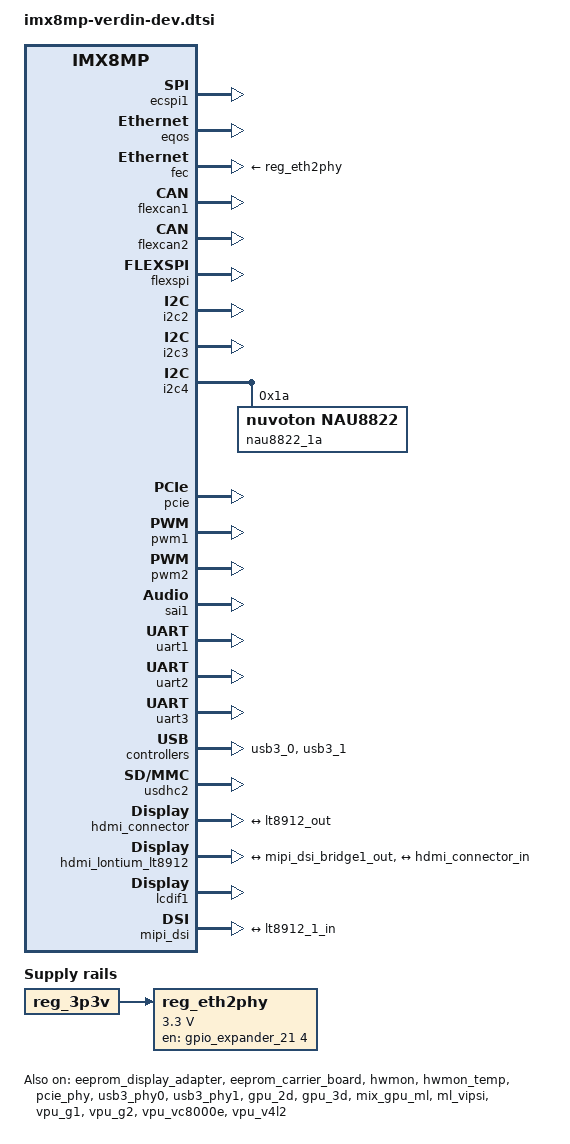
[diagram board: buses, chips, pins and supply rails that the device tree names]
// SPDX-License-Identifier: GPL-2.0-or-later OR MIT
/*
 * Copyright 2022 Toradex
 */

/ {
	reg_eth2phy: regulator-eth2phy {
		compatible = "regulator-fixed";
		enable-active-high;
		gpio = <&gpio_expander_21 4 GPIO_ACTIVE_HIGH>; /* ETH_PWR_EN */
		off-on-delay = <500000>;
		regulator-max-microvolt = <3300000>;
		regulator-min-microvolt = <3300000>;
		regulator-name = "+V3.3_ETH";
		startup-delay-us = <200000>;
		vin-supply = <&reg_3p3v>;
	};

	sound_card: sound-card {
		compatible = "simple-audio-card";
		simple-audio-card,bitclock-master = <&dailink_master>;
		simple-audio-card,format = "i2s";
		simple-audio-card,frame-master = <&dailink_master>;
		simple-audio-card,mclk-fs = <256>;
		simple-audio-card,name = "imx8mp-nau8822";
		simple-audio-card,routing =
			"Headphones", "LHP",
			"Headphones", "RHP",
			"Speaker", "LSPK",
			"Speaker", "RSPK",
			"Line Out", "AUXOUT1",
			"Line Out", "AUXOUT2",
			"LAUX", "Line In",
			"RAUX", "Line In",
			"LMICP",    "Mic In",
			"RMICP",    "Mic In";
		simple-audio-card,widgets =
			"Headphones", "Headphones",
			"Line Out", "Line Out",
			"Speaker", "Speaker",
			"Microphone", "Mic In",
			"Line", "Line In";

		dailink_master: simple-audio-card,codec {
			sound-dai = <&nau8822_1a>;
			clocks = <&audio_blk_ctrl IMX8MP_CLK_AUDIO_BLK_CTRL_SAI1_MCLK1>;
		};

		simple-audio-card,cpu {
			sound-dai = <&sai1>;
		};
	};
};

&backlight {
	power-supply = <&reg_3p3v>;
};

/* Verdin SPI_1 */
&ecspi1 {
	status = "okay";
};

/* EEPROM on display adapter boards */
&eeprom_display_adapter {
	status = "okay";
};

/* EEPROM on Verdin Development board */
&eeprom_carrier_board {
	status = "okay";
};

&eqos {
	status = "okay";
};

&fec {
	phy-supply = <&reg_eth2phy>;
	status = "okay";
};

&flexcan1 {
	status = "okay";
};

&flexcan2 {
	status = "okay";
};

/* Verdin QSPI_1 */
&flexspi {
	status = "okay";
};

&gpio_expander_21 {
	status = "okay";
	vcc-supply = <&reg_1p8v>;
};

/* Current measurement into module VCC */
&hwmon {
	status = "okay";
};

&hwmon_temp {
	vs-supply = <&reg_1p8v>;
	status = "okay";
};

/* Verdin I2C_2_DSI */
&i2c2 {
	status = "okay";
};

&i2c3 {
	status = "okay";
};

/* Verdin I2C_1 */
&i2c4 {
	status = "okay";

	/* Audio Codec */
	nau8822_1a: codec-nau@1a {
		compatible = "nuvoton,nau8822";
		pinctrl-names = "default";
		pinctrl-0 = <&pinctrl_sai1>;
		#sound-dai-cells = <0>;
		reg = <0x1a>;
	};
};

/* Verdin PCIE_1 */
&pcie {
	epdev_on-supply = <&reg_3p3v>;
	status = "okay";
};

&pcie_phy {
	status = "okay";
};

/* Verdin PWM_1 */
&pwm1 {
	status = "okay";
};

/* Verdin PWM_2 */
&pwm2 {
	status = "okay";
};

/* Verdin PWM_3_DSI */
&pwm3 {
	status = "okay";
};

&reg_usdhc2_vmmc {
	vin-supply = <&reg_3p3v>;
};

/* VERDIN I2S_1 */
&sai1 {
	#sound-dai-cells = <0>;
	assigned-clocks = <&clk IMX8MP_CLK_SAI1>;
	assigned-clock-parents = <&clk IMX8MP_AUDIO_PLL1_OUT>;
	assigned-clock-rates = <24576000>;
	fsl,sai-mclk-direction-output;
	status = "okay";
};

&sdma2 {
	status = "okay";
};

/* Verdin UART_1, connector X50 through RS485 transceiver */
&uart1 {
	linux,rs485-enabled-at-boot-time;
	rs485-rts-active-low;
	rs485-rx-during-tx;
	status = "okay";
};

/* Verdin UART_2 */
&uart2 {
	status = "okay";
};

/* Verdin UART_3, used as the Linux Console */
&uart3 {
	status = "okay";
};

/* Verdin USB_1 */
&usb3_0 {
	status = "okay";
};

&usb3_phy0 {
	status = "okay";
};

/* Verdin USB_2 */
&usb3_1 {
	fsl,permanently-attached;
	status = "okay";
};

&usb3_phy1 {
	status = "okay";
};

/* Limit frequency on dev board due to long traces and bad signal integrity */
&usdhc2 {
	max-frequency = <100000000>;
	status = "okay";
};
&gpu_2d {
	status = "okay";
};

&gpu_3d {
	status = "okay";
};
&hdmi_connector {
	status = "okay";

	port {
		hdmi_connector_in: endpoint {
			remote-endpoint = <&lt8912_out>;
		};
	};
};

&hdmi_lontium_lt8912 {
	status = "okay";
    ports {
		#address-cells = <1>;
		#size-cells = <0>;

		port@0 {
			reg = <0>;

			lt8912_1_in: endpoint {
				data-lanes = <1 2 3 4>;
				remote-endpoint = <&mipi_dsi_bridge1_out>;
			};
		};

		port@1 {
			reg = <1>;

			lt8912_out: endpoint {
				remote-endpoint = <&hdmi_connector_in>;
			};
		};
	};
#if 0
	port@1 {
        reg = <1>;
		lt8912_1_in: endpoint {
                         data-lanes = <1 2 3 4>;
			remote-endpoint = <&mipi_dsi_bridge1_out>;
		};
	};
#endif
};

&i2c2 {
	status = "okay";
};

/* LCDIF to MIPI-DSI */
&lcdif1 {
	status = "okay";
};

&mipi_dsi {
	#address-cells = <1>;
	#size-cells = <0>;
	status = "okay";

	port@1 {
        reg = <1>;
		mipi_dsi_bridge1_out: endpoint {
			remote-endpoint = <&lt8912_1_in>;
			attach-bridge;
		};
	};
};

&mix_gpu_ml {
	status = "okay";
};

&ml_vipsi {
	status = "okay";
};

&pwm3 {
	/* PWM 3 conflicts with the HPD signal from the adapter */
	status = "disabled";
};
&vpu_g1 {
	status = "okay";
};

&vpu_g2 {
	status = "okay";
};

&vpu_vc8000e {
	status = "okay";
};

&vpu_v4l2 {
	status = "okay";
};
